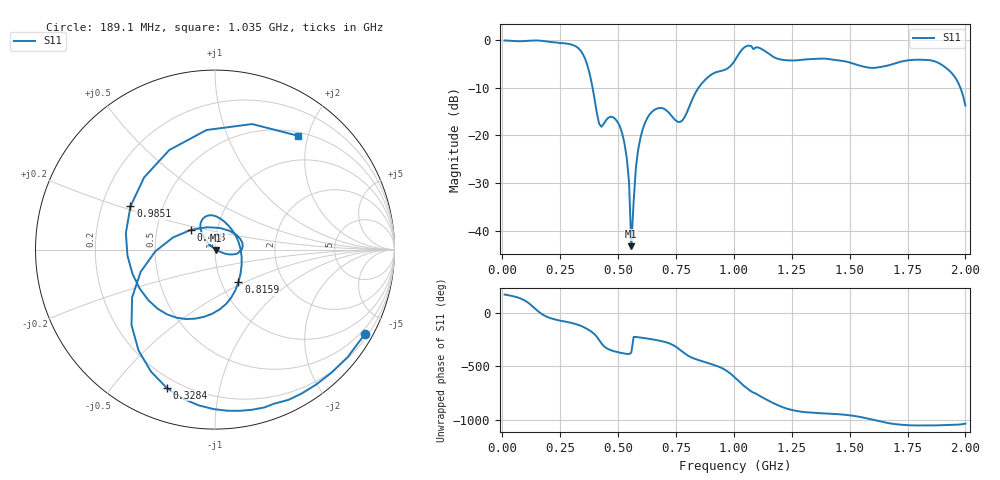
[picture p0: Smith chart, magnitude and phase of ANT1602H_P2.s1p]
!Created with skrf (http://scikit-rf.org).
# Hz S RI R 50.0
!freq ReS11 ImS11
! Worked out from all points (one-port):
!   201 points, 10 MHz to 2 GHz, reference 50 ohm
!   lowest |S11| = -43.1 dB at 557.2 MHz (marker M1), VSWR 1.01, Z = 50.7 - j0.135 ohm
!   |S11| at or under -10 dB: 389.7 MHz to 848.3 MHz (458.6 MHz wide, 74.1 % of centre); 1.978 GHz to end of sweep
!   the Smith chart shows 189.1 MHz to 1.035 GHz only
!   S11 on the Smith chart (normalised r, x): 189.1 MHz: 0.33, -3.77; 328.4 MHz: 0.15, -0.70; 408 MHz: 0.75, +0.17; 816 MHz: 1.20, -0.46; 985.1 MHz: 0.32, +0.22; 1.035 GHz: 0.56, +1.84
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1e7  -0.9785 0.068
7.965e7  -0.7164 0.6431
1.1945e8  0.0695 0.9738
1.493e8  0.8586 0.4725
1.891e8  0.8337 -0.4726
2.5875e8  0.2751 -0.8794
3.284e8  -0.2701 -0.769
3.682e8  -0.4618 -0.2664
4.08e8  -0.1342 0.1101
5.075e8  0.1231 -0.023
5.3735e8  0.0545 -0.0223
5.5725e8  0.00687 -0.00133
5.7715e8  -0.0342 0.0314
6.1695e8  -0.0794 0.1111
7.5625e8  0.1142 0.08
8.1595e8  0.1304 -0.1826
9.1545e8  -0.267 -0.361
9.851e8  -0.471 0.2408
1.005e9  -0.2546 0.5549
1.03485e9  0.4649 0.6335
1.0647e9  0.8664 0.0247
1.1244e9  0.24 -0.7491
1.1841e9  -0.4791 -0.4221
1.25375e9  -0.5955 0.1123
1.5025e9  -0.2869 0.4988
1.75125e9  0.5387 0.2819
1.9204e9  0.4344 0.2433
2e9  0.151 0.1392
